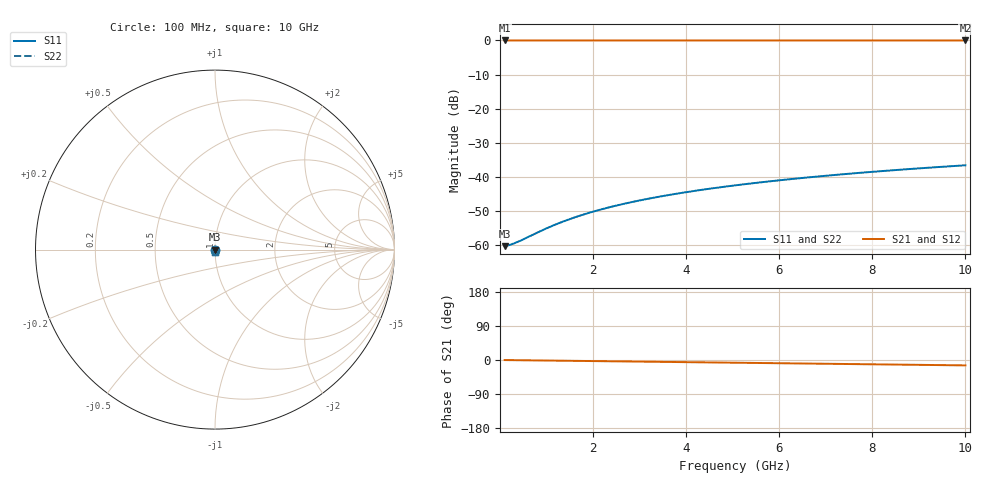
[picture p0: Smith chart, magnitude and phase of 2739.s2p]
# Hz S RI R 50.00
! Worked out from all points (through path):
!   100 points, 100 MHz to 10 GHz, reference 50 ohm
!   highest |S21| = -0.01 dB at 100 MHz (marker M1); lowest = 0.0 dB at 10 GHz (marker M2)
!   group delay of S21, straight-line fit = 3.95 ps
!   lowest |S11| = -60.4 dB at 100 MHz (marker M3), VSWR 1.00, Z = 50.1 - j0.0148 ohm
!   |S11| at or under -10 dB: start of sweep to end of sweep
!   |S22| runs from -60.4 to -36.6 dB; largest |S21 - S12| = 0
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1e8  0.000948 -0.000148  0.999 -0.00247  0.999 -0.00247  0.000948 -0.000148
2e8  0.000952 -0.000296  0.999 -0.00493  0.999 -0.00493  0.000952 -0.000296
3e8  0.000954 -0.000444  0.999 -0.0074  0.999 -0.0074  0.000954 -0.000444
4e8  0.000954 -0.000592  0.999 -0.00986  0.999 -0.00986  0.000954 -0.000592
9e8  0.000938 -0.00133  0.9988 -0.0222  0.9988 -0.0222  0.000938 -0.00133
1.2e9  0.000917 -0.00178  0.9986 -0.0296  0.9986 -0.0296  0.000917 -0.00178
1.5e9  0.000889 -0.00222  0.9983 -0.037  0.9983 -0.037  0.000889 -0.00222
1.8e9  0.000854 -0.00267  0.998 -0.0444  0.998 -0.0444  0.000854 -0.00267
2.1e9  0.000812 -0.00311  0.9976 -0.0518  0.9976 -0.0518  0.000812 -0.00311
2.5e9  0.000746 -0.00371  0.9971 -0.0616  0.9971 -0.0616  0.000746 -0.00371
2.9e9  0.000667 -0.0043  0.9964 -0.0715  0.9964 -0.0715  0.000667 -0.0043
3.4e9  0.000552 -0.00504  0.9954 -0.0838  0.9954 -0.0838  0.000552 -0.00504
3.8e9  0.000446 -0.00563  0.9945 -0.0937  0.9945 -0.0937  0.000446 -0.00563
4.2e9  0.000329 -0.00622  0.9935 -0.1035  0.9935 -0.1035  0.000329 -0.00622
4.6e9  0.0002 -0.00681  0.9924 -0.1133  0.9924 -0.1133  0.0002 -0.00681
5.1e9  2.12e-05 -0.00755  0.9909 -0.1256  0.9909 -0.1256  2.12e-05 -0.00755
5.9e9  -0.000303 -0.00872  0.9882 -0.1453  0.9882 -0.1453  -0.000303 -0.00872
6.7e9  -0.000673 -0.00988  0.9851 -0.1649  0.9851 -0.1649  -0.000673 -0.00988
7.5e9  -0.00109 -0.011  0.9816 -0.1845  0.9816 -0.1845  -0.00109 -0.011
8.4e9  -0.00161 -0.0123  0.9772 -0.2065  0.9772 -0.2065  -0.00161 -0.0123
9.2e9  -0.00213 -0.0134  0.9728 -0.2259  0.9728 -0.2259  -0.00213 -0.0134
1e10  -0.00268 -0.0145  0.9681 -0.2453  0.9681 -0.2453  -0.00268 -0.0145
